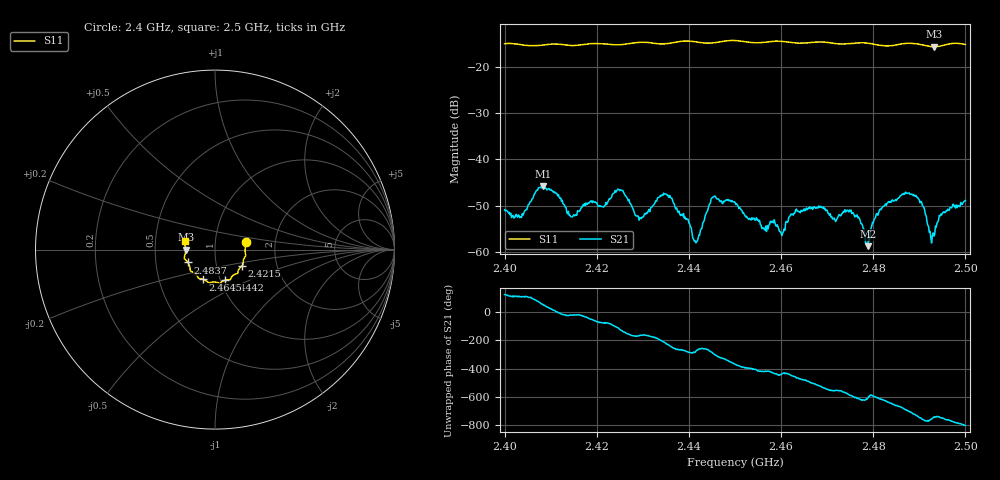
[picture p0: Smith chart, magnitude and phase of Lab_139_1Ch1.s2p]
# Hz S RI R 50
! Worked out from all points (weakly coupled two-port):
!   601 points, 2.4 GHz to 2.5 GHz, reference 50 ohm
!   highest |S21| = -45.75 dB at 2.4083 GHz (marker M1); lowest = -58.7 dB at 2.4788 GHz (marker M2)
!   lowest |S11| = -15.7 dB at 2.4932 GHz (marker M3), VSWR 1.39, Z = 36 - j0.0536 ohm
!   |S11| at or under -10 dB: start of sweep to end of sweep
!   S12 and S22 are empty: the file has one direction only
!   S11 on the Smith chart (normalised r, x): 2.4 GHz: 1.41, +0.12; 2.4215 GHz: 1.33, -0.25; 2.4442 GHz: 1.05, -0.37; 2.4645 GHz: 0.83, -0.29; 2.4837 GHz: 0.73, -0.11; 2.5 GHz: 0.71, +0.07
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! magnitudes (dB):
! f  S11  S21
! 2.4 GHz  -15.1  -50.8
! 2.4037 GHz  -15.3  -52.5
! 2.4083 GHz  -15.4  -45.7
! 2.4167 GHz  -15.3  -50.3
! 2.4215 GHz  -15.1  -50.3
! 2.4252 GHz  -15.3  -46.5
! 2.4297 GHz  -14.8  -52.7
! 2.4333 GHz  -15.1  -48.2
! 2.436 GHz  -15.0  -48.2
! 2.4413 GHz  -14.6  -57.5
! 2.4442 GHz  -15.0  -50.6
! 2.45 GHz  -14.4  -49.2
! 2.46 GHz  -14.6  -55.8
! 2.4645 GHz  -15.0  -51.1
! 2.4667 GHz  -14.8  -50.3
! 2.4753 GHz  -15.0  -51.6
! 2.4788 GHz  -15.0  -58.7
! 2.4833 GHz  -15.6  -49.1
! 2.4837 GHz  -15.5  -49.0
! 2.4892 GHz  -15.1  -47.9
! 2.4932 GHz  -15.7  -56.5
! 2.5 GHz  -15.2  -48.8
